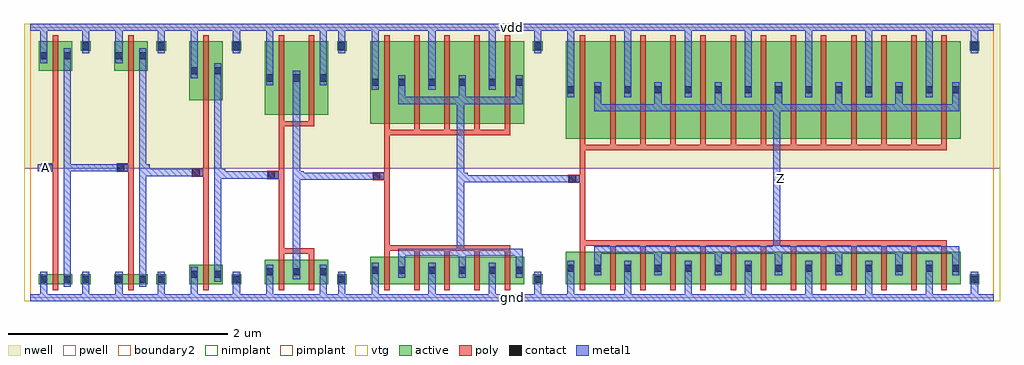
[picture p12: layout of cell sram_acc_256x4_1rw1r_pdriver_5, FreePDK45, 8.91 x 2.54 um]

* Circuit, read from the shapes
.subckt sram_acc_256x4_1rw1r_pdriver_5 A Z gnd vdd
M1 sram_acc_256x4_1rw1r_pinv_1_1/A A gnd gnd nfet w=0.09u l=0.05u
M2 sram_acc_256x4_1rw1r_pinv_16_2/A sram_acc_256x4_1rw1r_pinv_1_1/A gnd gnd nfet w=0.09u l=0.05u
M3 sram_acc_256x4_1rw1r_pinv_17_3/A sram_acc_256x4_1rw1r_pinv_16_2/A gnd gnd nfet w=0.18u l=0.05u
M4 sram_acc_256x4_1rw1r_pinv_18_4/A sram_acc_256x4_1rw1r_pinv_17_3/A gnd gnd nfet w=0.225u l=0.05u m=2
M5 sram_acc_256x4_1rw1r_pinv_19_5/A sram_acc_256x4_1rw1r_pinv_18_4/A gnd gnd nfet w=0.2525u l=0.05u m=5
M6 Z sram_acc_256x4_1rw1r_pinv_19_5/A gnd gnd nfet w=0.2975u l=0.05u m=13
M7 sram_acc_256x4_1rw1r_pinv_1_1/A A vdd vdd pfet w=0.27u l=0.05u
M8 sram_acc_256x4_1rw1r_pinv_16_2/A sram_acc_256x4_1rw1r_pinv_1_1/A vdd vdd pfet w=0.27u l=0.05u
M9 sram_acc_256x4_1rw1r_pinv_17_3/A sram_acc_256x4_1rw1r_pinv_16_2/A vdd vdd pfet w=0.54u l=0.05u
M10 sram_acc_256x4_1rw1r_pinv_18_4/A sram_acc_256x4_1rw1r_pinv_17_3/A vdd vdd pfet w=0.675u l=0.05u m=2
M11 sram_acc_256x4_1rw1r_pinv_19_5/A sram_acc_256x4_1rw1r_pinv_18_4/A vdd vdd pfet w=0.755u l=0.05u m=5
M12 Z sram_acc_256x4_1rw1r_pinv_19_5/A vdd vdd pfet w=0.8925u l=0.05u m=13
.ends

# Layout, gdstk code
import gdstk
lib = gdstk.Library(unit=1e-6, precision=5e-10)
def R(c, l, rs):  # rectangles x0, y0, x1, y1
    for r in rs: c.add(gdstk.rectangle(r[:2], r[2:], *l))
def A(c, l, x, y, w, h, nx, ny, dx, dy):  # array of equal rectangles
    R(c, l, [(x+i*dx, y+j*dy, x+i*dx+w, y+j*dy+h) for i in range(nx) for j in range(ny)])
active = (1, 0)
pwell = (2, 0)
nwell = (3, 0)
nimplant = (4, 0)
pimplant = (5, 0)
vtg = (6, 0)
poly = (9, 0)
contact = (10, 0)
metal1 = (11, 0)
boundary2 = (239, 0)

sram_acc_256x4_1rw1r_con = lib.new_cell('sram_acc_256x4_1rw1r_contact_11')
R(sram_acc_256x4_1rw1r_con, active, [(0,0.0225,0.09,0.1125)])
R(sram_acc_256x4_1rw1r_con, nwell, [(-0.055,-0.0325,0.145,0.1675)])
R(sram_acc_256x4_1rw1r_con, pimplant, [(0,0.0225,0.09,0.1125)])
R(sram_acc_256x4_1rw1r_con, contact, [(0.0125,0.035,0.0775,0.1)])
R(sram_acc_256x4_1rw1r_con, metal1, [(0.0125,0,0.0775,0.135)])
R(sram_acc_256x4_1rw1r_con, boundary2, [(-0.055,-0.0325,0.145,0.1675)])

sram_acc_256x4_1rw1r_pmo = lib.new_cell('sram_acc_256x4_1rw1r_pmos_m1_w0_270_sm1_dm1_da_p')
R(sram_acc_256x4_1rw1r_pmo, active, [(0,0,0.305,0.27)])
R(sram_acc_256x4_1rw1r_pmo, nwell, [(-0.08,-0.08,0.385,0.35)])
R(sram_acc_256x4_1rw1r_pmo, pimplant, [(0,0,0.305,0.27)])
R(sram_acc_256x4_1rw1r_pmo, vtg, [(-0.08,-0.08,0.385,0.35)])
R(sram_acc_256x4_1rw1r_pmo, poly, [(0.1275,-0.055,0.1775,0.325), (0.1275,-0.055,0.1775,0.325)])
R(sram_acc_256x4_1rw1r_pmo, metal1, [(0.0125,0.0675,0.0775,0.2025), (0.2275,0.0675,0.2925,0.2025)])
R(sram_acc_256x4_1rw1r_pmo, boundary2, [(-0.08,-0.08,0.385,0.35)])
sram_acc_256x4_1rw1r_pmo.add(gdstk.Reference(sram_acc_256x4_1rw1r_con, (0,0.0675)))
sram_acc_256x4_1rw1r_pmo.add(gdstk.Reference(sram_acc_256x4_1rw1r_con, (0.215,0.0675)))
sram_acc_256x4_1rw1r_pmo.add(gdstk.Label('G', (0.1525,0.135), layer=9, texttype=0))
sram_acc_256x4_1rw1r_pmo.add(gdstk.Label('S', (0.045,0.135), layer=11, texttype=0))
sram_acc_256x4_1rw1r_pmo.add(gdstk.Label('D', (0.26,0.135), layer=11, texttype=0))

c_sram_acc_256x4_1rw1r_con = lib.new_cell('sram_acc_256x4_1rw1r_contact_10')
R(c_sram_acc_256x4_1rw1r_con, active, [(0,0.0225,0.09,0.1125)])
R(c_sram_acc_256x4_1rw1r_con, pwell, [(-0.055,-0.0325,0.145,0.1675)])
R(c_sram_acc_256x4_1rw1r_con, nimplant, [(0,0.0225,0.09,0.1125)])
R(c_sram_acc_256x4_1rw1r_con, contact, [(0.0125,0.035,0.0775,0.1)])
R(c_sram_acc_256x4_1rw1r_con, metal1, [(0.0125,0,0.0775,0.135)])
R(c_sram_acc_256x4_1rw1r_con, boundary2, [(-0.055,-0.0325,0.145,0.1675)])

sram_acc_256x4_1rw1r_nmo = lib.new_cell('sram_acc_256x4_1rw1r_nmos_m1_w0_090_sm1_dm1_da_p')
R(sram_acc_256x4_1rw1r_nmo, active, [(0,0,0.305,0.09)])
R(sram_acc_256x4_1rw1r_nmo, pwell, [(-0.08,-0.08,0.385,0.17)])
R(sram_acc_256x4_1rw1r_nmo, nimplant, [(0,0,0.305,0.09)])
R(sram_acc_256x4_1rw1r_nmo, vtg, [(-0.08,-0.08,0.385,0.17)])
R(sram_acc_256x4_1rw1r_nmo, poly, [(0.1275,-0.055,0.1775,0.145), (0.1275,-0.055,0.1775,0.145)])
R(sram_acc_256x4_1rw1r_nmo, metal1, [(0.0125,-0.0225,0.0775,0.1125), (0.2275,-0.0225,0.2925,0.1125)])
R(sram_acc_256x4_1rw1r_nmo, boundary2, [(-0.08,-0.08,0.385,0.17)])
sram_acc_256x4_1rw1r_nmo.add(gdstk.Reference(c_sram_acc_256x4_1rw1r_con, (0,-0.0225)))
sram_acc_256x4_1rw1r_nmo.add(gdstk.Reference(c_sram_acc_256x4_1rw1r_con, (0.215,-0.0225)))
sram_acc_256x4_1rw1r_nmo.add(gdstk.Label('G', (0.1525,0.045), layer=9, texttype=0))
sram_acc_256x4_1rw1r_nmo.add(gdstk.Label('S', (0.045,0.045), layer=11, texttype=0))
sram_acc_256x4_1rw1r_nmo.add(gdstk.Label('D', (0.26,0.045), layer=11, texttype=0))

c_sram_acc_256x4_1rw1r_con_ = lib.new_cell('sram_acc_256x4_1rw1r_contact_12')
R(c_sram_acc_256x4_1rw1r_con_, active, [(0,0.0225,0.09,0.1125)])
R(c_sram_acc_256x4_1rw1r_con_, nwell, [(-0.055,-0.0325,0.145,0.1675)])
R(c_sram_acc_256x4_1rw1r_con_, nimplant, [(0,0.0225,0.09,0.1125)])
R(c_sram_acc_256x4_1rw1r_con_, contact, [(0.0125,0.035,0.0775,0.1)])
R(c_sram_acc_256x4_1rw1r_con_, metal1, [(0.0125,0,0.0775,0.135)])
R(c_sram_acc_256x4_1rw1r_con_, boundary2, [(-0.055,-0.0325,0.145,0.1675)])

c_sram_acc_256x4_1rw1r_con__ = lib.new_cell('sram_acc_256x4_1rw1r_contact_13')
R(c_sram_acc_256x4_1rw1r_con__, active, [(0,0.0225,0.09,0.1125)])
R(c_sram_acc_256x4_1rw1r_con__, pwell, [(-0.055,-0.0325,0.145,0.1675)])
R(c_sram_acc_256x4_1rw1r_con__, pimplant, [(0,0.0225,0.09,0.1125)])
R(c_sram_acc_256x4_1rw1r_con__, contact, [(0.0125,0.035,0.0775,0.1)])
R(c_sram_acc_256x4_1rw1r_con__, metal1, [(0.0125,0,0.0775,0.135)])
R(c_sram_acc_256x4_1rw1r_con__, boundary2, [(-0.055,-0.0325,0.145,0.1675)])

c_sram_acc_256x4_1rw1r_con___ = lib.new_cell('sram_acc_256x4_1rw1r_contact_14')
R(c_sram_acc_256x4_1rw1r_con___, poly, [(0.03,0,0.105,0.075)])
R(c_sram_acc_256x4_1rw1r_con___, contact, [(0.035,0.005,0.1,0.07)])
R(c_sram_acc_256x4_1rw1r_con___, metal1, [(0,0.005,0.135,0.07)])
R(c_sram_acc_256x4_1rw1r_con___, boundary2, [(0,0,0.135,0.075)])

sram_acc_256x4_1rw1r_pin = lib.new_cell('sram_acc_256x4_1rw1r_pinv_1')
R(sram_acc_256x4_1rw1r_pin, pwell, [(-0.055,-0.0325,0.7425,1.185)])
R(sram_acc_256x4_1rw1r_pin, nwell, [(-0.055,1.185,0.7425,2.505)])
R(sram_acc_256x4_1rw1r_pin, vtg, [(-0.055,-0.0325,0.7425,1.185), (-0.055,1.185,0.7425,2.505)])
R(sram_acc_256x4_1rw1r_pin, poly, [(0.2075,0.27,0.2575,2.02), (0.14,1.1525,0.2075,1.2275)])
R(sram_acc_256x4_1rw1r_pin, metal1, [(0,-0.0325,0.6875,0.0325), (0.0925,-0.0325,0.1575,0.1025), (0.4775,0,0.5425,0.17), (0.3075,0.1025,0.3725,2.2775), (0.0725,1.1575,0.2075,1.2225), (0.34,1.1575,0.405,1.2225), (0.0925,2.1425,0.1575,2.5025), (0.4775,2.3,0.5425,2.47), (0,2.4375,0.6875,2.5025)])
R(sram_acc_256x4_1rw1r_pin, boundary2, [(0,0,0.6875,2.47), (0,0,0.6875,2.47)])
sram_acc_256x4_1rw1r_pin.add(gdstk.Reference(sram_acc_256x4_1rw1r_pmo, (0.08,2.075)))
sram_acc_256x4_1rw1r_pin.add(gdstk.Reference(sram_acc_256x4_1rw1r_nmo, (0.08,0.125)))
sram_acc_256x4_1rw1r_pin.add(gdstk.Reference(c_sram_acc_256x4_1rw1r_con_, (0.465,2.2325)))
sram_acc_256x4_1rw1r_pin.add(gdstk.Reference(c_sram_acc_256x4_1rw1r_con__, (0.465,0.1025)))
sram_acc_256x4_1rw1r_pin.add(gdstk.Reference(c_sram_acc_256x4_1rw1r_con___, (0.0725,1.1525)))
sram_acc_256x4_1rw1r_pin.add(gdstk.Label('A', (0.14,1.19), layer=11, texttype=0))
sram_acc_256x4_1rw1r_pin.add(gdstk.Label('Z', (0.3725,1.19), layer=11, texttype=0))
sram_acc_256x4_1rw1r_pin.add(gdstk.Label('gnd', (0.344,0), layer=11, texttype=0))
sram_acc_256x4_1rw1r_pin.add(gdstk.Label('vdd', (0.344,2.47), layer=11, texttype=0))

c_sram_acc_256x4_1rw1r_pmo = lib.new_cell('sram_acc_256x4_1rw1r_pmos_m1_w0_540_sm1_dm1_da_p')
R(c_sram_acc_256x4_1rw1r_pmo, active, [(0,0,0.305,0.54)])
R(c_sram_acc_256x4_1rw1r_pmo, nwell, [(-0.08,-0.08,0.385,0.62)])
R(c_sram_acc_256x4_1rw1r_pmo, pimplant, [(0,0,0.305,0.54)])
R(c_sram_acc_256x4_1rw1r_pmo, vtg, [(-0.08,-0.08,0.385,0.62)])
R(c_sram_acc_256x4_1rw1r_pmo, poly, [(0.1275,-0.055,0.1775,0.595), (0.1275,-0.055,0.1775,0.595)])
R(c_sram_acc_256x4_1rw1r_pmo, metal1, [(0.0125,0.2025,0.0775,0.3375), (0.2275,0.2025,0.2925,0.3375)])
R(c_sram_acc_256x4_1rw1r_pmo, boundary2, [(-0.08,-0.08,0.385,0.62)])
c_sram_acc_256x4_1rw1r_pmo.add(gdstk.Reference(sram_acc_256x4_1rw1r_con, (0,0.2025)))
c_sram_acc_256x4_1rw1r_pmo.add(gdstk.Reference(sram_acc_256x4_1rw1r_con, (0.215,0.2025)))
c_sram_acc_256x4_1rw1r_pmo.add(gdstk.Label('G', (0.1525,0.27), layer=9, texttype=0))
c_sram_acc_256x4_1rw1r_pmo.add(gdstk.Label('S', (0.045,0.27), layer=11, texttype=0))
c_sram_acc_256x4_1rw1r_pmo.add(gdstk.Label('D', (0.26,0.27), layer=11, texttype=0))

c_sram_acc_256x4_1rw1r_nmo = lib.new_cell('sram_acc_256x4_1rw1r_nmos_m1_w0_180_sm1_dm1_da_p')
R(c_sram_acc_256x4_1rw1r_nmo, active, [(0,0,0.305,0.18)])
R(c_sram_acc_256x4_1rw1r_nmo, pwell, [(-0.08,-0.08,0.385,0.26)])
R(c_sram_acc_256x4_1rw1r_nmo, nimplant, [(0,0,0.305,0.18)])
R(c_sram_acc_256x4_1rw1r_nmo, vtg, [(-0.08,-0.08,0.385,0.26)])
R(c_sram_acc_256x4_1rw1r_nmo, poly, [(0.1275,-0.055,0.1775,0.235), (0.1275,-0.055,0.1775,0.235)])
R(c_sram_acc_256x4_1rw1r_nmo, metal1, [(0.0125,0.0225,0.0775,0.1575), (0.2275,0.0225,0.2925,0.1575)])
R(c_sram_acc_256x4_1rw1r_nmo, boundary2, [(-0.08,-0.08,0.385,0.26)])
c_sram_acc_256x4_1rw1r_nmo.add(gdstk.Reference(c_sram_acc_256x4_1rw1r_con, (0,0.0225)))
c_sram_acc_256x4_1rw1r_nmo.add(gdstk.Reference(c_sram_acc_256x4_1rw1r_con, (0.215,0.0225)))
c_sram_acc_256x4_1rw1r_nmo.add(gdstk.Label('G', (0.1525,0.09), layer=9, texttype=0))
c_sram_acc_256x4_1rw1r_nmo.add(gdstk.Label('S', (0.045,0.09), layer=11, texttype=0))
c_sram_acc_256x4_1rw1r_nmo.add(gdstk.Label('D', (0.26,0.09), layer=11, texttype=0))

c_sram_acc_256x4_1rw1r_pin = lib.new_cell('sram_acc_256x4_1rw1r_pinv_16')
R(c_sram_acc_256x4_1rw1r_pin, pwell, [(-0.055,-0.0325,0.7425,1.185)])
R(c_sram_acc_256x4_1rw1r_pin, nwell, [(-0.055,1.185,0.7425,2.505)])
R(c_sram_acc_256x4_1rw1r_pin, vtg, [(-0.055,-0.0325,0.7425,1.185), (-0.055,1.185,0.7425,2.505)])
R(c_sram_acc_256x4_1rw1r_pin, poly, [(0.2075,0.36,0.2575,1.75), (0.14,1.1075,0.2075,1.1825)])
R(c_sram_acc_256x4_1rw1r_pin, metal1, [(0,-0.0325,0.6875,0.0325), (0.0925,-0.0325,0.1575,0.1475), (0.4775,0,0.5425,0.17), (0.3075,0.1475,0.3725,2.1425), (0.0725,1.1125,0.2075,1.1775), (0.34,1.1125,0.405,1.1775), (0.0925,2.0075,0.1575,2.5025), (0.4775,2.3,0.5425,2.47), (0,2.4375,0.6875,2.5025)])
R(c_sram_acc_256x4_1rw1r_pin, boundary2, [(0,0,0.6875,2.47), (0,0,0.6875,2.47)])
c_sram_acc_256x4_1rw1r_pin.add(gdstk.Reference(c_sram_acc_256x4_1rw1r_pmo, (0.08,1.805)))
c_sram_acc_256x4_1rw1r_pin.add(gdstk.Reference(c_sram_acc_256x4_1rw1r_nmo, (0.08,0.125)))
c_sram_acc_256x4_1rw1r_pin.add(gdstk.Reference(c_sram_acc_256x4_1rw1r_con_, (0.465,2.2325)))
c_sram_acc_256x4_1rw1r_pin.add(gdstk.Reference(c_sram_acc_256x4_1rw1r_con__, (0.465,0.1025)))
c_sram_acc_256x4_1rw1r_pin.add(gdstk.Reference(c_sram_acc_256x4_1rw1r_con___, (0.0725,1.1075)))
c_sram_acc_256x4_1rw1r_pin.add(gdstk.Label('A', (0.14,1.145), layer=11, texttype=0))
c_sram_acc_256x4_1rw1r_pin.add(gdstk.Label('Z', (0.3725,1.145), layer=11, texttype=0))
c_sram_acc_256x4_1rw1r_pin.add(gdstk.Label('gnd', (0.344,0), layer=11, texttype=0))
c_sram_acc_256x4_1rw1r_pin.add(gdstk.Label('vdd', (0.344,2.47), layer=11, texttype=0))

c_sram_acc_256x4_1rw1r_pmo_ = lib.new_cell('sram_acc_256x4_1rw1r_pmos_m2_w0_675_sm1_dm1_da_p')
R(c_sram_acc_256x4_1rw1r_pmo_, active, [(0,0,0.58,0.675)])
R(c_sram_acc_256x4_1rw1r_pmo_, nwell, [(-0.08,-0.08,0.66,0.755)])
R(c_sram_acc_256x4_1rw1r_pmo_, pimplant, [(0,0,0.58,0.675)])
R(c_sram_acc_256x4_1rw1r_pmo_, vtg, [(-0.08,-0.08,0.66,0.755)])
R(c_sram_acc_256x4_1rw1r_pmo_, poly, [(0.1275,-0.105,0.4525,-0.055), (0.1275,-0.055,0.1775,0.73), (0.4025,-0.055,0.4525,0.73)])
A(c_sram_acc_256x4_1rw1r_pmo_, metal1, 0.0125, 0.27, 0.065, 0.135, 3, 1, 0.245, 0)
R(c_sram_acc_256x4_1rw1r_pmo_, boundary2, [(-0.08,-0.105,0.66,0.755)])
c_sram_acc_256x4_1rw1r_pmo_.add(gdstk.Reference(sram_acc_256x4_1rw1r_con, (0,0.27)))
c_sram_acc_256x4_1rw1r_pmo_.add(gdstk.Reference(sram_acc_256x4_1rw1r_con, (0.245,0.27)))
c_sram_acc_256x4_1rw1r_pmo_.add(gdstk.Reference(sram_acc_256x4_1rw1r_con, (0.49,0.27)))
c_sram_acc_256x4_1rw1r_pmo_.add(gdstk.Label('G', (0.29,-0.08), layer=9, texttype=0))
c_sram_acc_256x4_1rw1r_pmo_.add(gdstk.Label('S', (0.535,0.3375), layer=11, texttype=0))
c_sram_acc_256x4_1rw1r_pmo_.add(gdstk.Label('S', (0.045,0.3375), layer=11, texttype=0))
c_sram_acc_256x4_1rw1r_pmo_.add(gdstk.Label('D', (0.29,0.3375), layer=11, texttype=0))

c_sram_acc_256x4_1rw1r_nmo_ = lib.new_cell('sram_acc_256x4_1rw1r_nmos_m2_w0_225_sm1_dm1_da_p')
R(c_sram_acc_256x4_1rw1r_nmo_, active, [(0,0,0.58,0.225)])
R(c_sram_acc_256x4_1rw1r_nmo_, pwell, [(-0.08,-0.08,0.66,0.305)])
R(c_sram_acc_256x4_1rw1r_nmo_, nimplant, [(0,0,0.58,0.225)])
R(c_sram_acc_256x4_1rw1r_nmo_, vtg, [(-0.08,-0.08,0.66,0.305)])
R(c_sram_acc_256x4_1rw1r_nmo_, poly, [(0.1275,-0.055,0.1775,0.28), (0.4025,-0.055,0.4525,0.28), (0.1275,0.28,0.4525,0.33)])
A(c_sram_acc_256x4_1rw1r_nmo_, metal1, 0.0125, 0.045, 0.065, 0.135, 3, 1, 0.245, 0)
R(c_sram_acc_256x4_1rw1r_nmo_, boundary2, [(-0.08,-0.08,0.66,0.33)])
c_sram_acc_256x4_1rw1r_nmo_.add(gdstk.Reference(c_sram_acc_256x4_1rw1r_con, (0,0.045)))
c_sram_acc_256x4_1rw1r_nmo_.add(gdstk.Reference(c_sram_acc_256x4_1rw1r_con, (0.245,0.045)))
c_sram_acc_256x4_1rw1r_nmo_.add(gdstk.Reference(c_sram_acc_256x4_1rw1r_con, (0.49,0.045)))
c_sram_acc_256x4_1rw1r_nmo_.add(gdstk.Label('G', (0.29,0.305), layer=9, texttype=0))
c_sram_acc_256x4_1rw1r_nmo_.add(gdstk.Label('S', (0.045,0.1125), layer=11, texttype=0))
c_sram_acc_256x4_1rw1r_nmo_.add(gdstk.Label('S', (0.535,0.1125), layer=11, texttype=0))
c_sram_acc_256x4_1rw1r_nmo_.add(gdstk.Label('D', (0.29,0.1125), layer=11, texttype=0))

c_sram_acc_256x4_1rw1r_pin_ = lib.new_cell('sram_acc_256x4_1rw1r_pinv_17')
R(c_sram_acc_256x4_1rw1r_pin_, pwell, [(-0.055,-0.0325,1.0175,1.185)])
R(c_sram_acc_256x4_1rw1r_pin_, nwell, [(-0.055,1.185,1.0175,2.505)])
R(c_sram_acc_256x4_1rw1r_pin_, vtg, [(-0.055,-0.0325,1.0175,1.185), (-0.055,1.185,1.0175,2.505)])
R(c_sram_acc_256x4_1rw1r_pin_, poly, [(0.2075,0.455,0.2575,1.565), (0.14,1.085,0.2075,1.16)])
R(c_sram_acc_256x4_1rw1r_pin_, metal1, [(0,-0.0325,0.9625,0.0325), (0.0925,-0.0325,0.1575,0.17), (0.5825,-0.0325,0.6475,0.17), (0.7525,0,0.8175,0.17), (0.3375,0.17,0.4025,2.075), (0.0725,1.09,0.2075,1.155), (0.37,1.09,0.435,1.155), (0.0925,1.94,0.1575,2.5025), (0.5825,1.94,0.6475,2.5025), (0.7525,2.3,0.8175,2.47), (0,2.4375,0.9625,2.5025)])
R(c_sram_acc_256x4_1rw1r_pin_, boundary2, [(0,0,0.9625,2.47), (0,0,0.9625,2.47)])
c_sram_acc_256x4_1rw1r_pin_.add(gdstk.Reference(c_sram_acc_256x4_1rw1r_pmo_, (0.08,1.67)))
c_sram_acc_256x4_1rw1r_pin_.add(gdstk.Reference(c_sram_acc_256x4_1rw1r_nmo_, (0.08,0.125)))
c_sram_acc_256x4_1rw1r_pin_.add(gdstk.Reference(c_sram_acc_256x4_1rw1r_con_, (0.74,2.2325)))
c_sram_acc_256x4_1rw1r_pin_.add(gdstk.Reference(c_sram_acc_256x4_1rw1r_con__, (0.74,0.1025)))
c_sram_acc_256x4_1rw1r_pin_.add(gdstk.Reference(c_sram_acc_256x4_1rw1r_con___, (0.0725,1.085)))
c_sram_acc_256x4_1rw1r_pin_.add(gdstk.Label('A', (0.14,1.1225), layer=11, texttype=0))
c_sram_acc_256x4_1rw1r_pin_.add(gdstk.Label('Z', (0.4025,1.1225), layer=11, texttype=0))
c_sram_acc_256x4_1rw1r_pin_.add(gdstk.Label('gnd', (0.481,0), layer=11, texttype=0))
c_sram_acc_256x4_1rw1r_pin_.add(gdstk.Label('vdd', (0.481,2.47), layer=11, texttype=0))

c_sram_acc_256x4_1rw1r_pmo__ = lib.new_cell('sram_acc_256x4_1rw1r_pmos_m5_w0_755_sm1_dm1_da_p')
R(c_sram_acc_256x4_1rw1r_pmo__, active, [(0,0,1.405,0.755)])
R(c_sram_acc_256x4_1rw1r_pmo__, nwell, [(-0.08,-0.08,1.485,0.835)])
R(c_sram_acc_256x4_1rw1r_pmo__, pimplant, [(0,0,1.405,0.755)])
R(c_sram_acc_256x4_1rw1r_pmo__, vtg, [(-0.08,-0.08,1.485,0.835)])
A(c_sram_acc_256x4_1rw1r_pmo__, poly, 0.1275, -0.055, 0.05, 0.865, 5, 1, 0.275, 0)
R(c_sram_acc_256x4_1rw1r_pmo__, poly, [(0.1275,-0.105,1.2775,-0.055)])
R(c_sram_acc_256x4_1rw1r_pmo__, metal1, [(0.2575,0.18,1.3925,0.245), (0.2575,0.2125,0.3225,0.3775), (0.8075,0.2125,0.8725,0.3775), (1.3275,0.2125,1.3925,0.3775), (0.0125,0.31,0.0775,0.445), (0.5325,0.31,0.5975,0.445), (1.0825,0.31,1.1475,0.445)])
R(c_sram_acc_256x4_1rw1r_pmo__, boundary2, [(-0.08,-0.105,1.485,0.835)])
c_sram_acc_256x4_1rw1r_pmo__.add(gdstk.Reference(sram_acc_256x4_1rw1r_con, (0,0.31)))
c_sram_acc_256x4_1rw1r_pmo__.add(gdstk.Reference(sram_acc_256x4_1rw1r_con, (0.245,0.31)))
c_sram_acc_256x4_1rw1r_pmo__.add(gdstk.Reference(sram_acc_256x4_1rw1r_con, (0.52,0.31)))
c_sram_acc_256x4_1rw1r_pmo__.add(gdstk.Reference(sram_acc_256x4_1rw1r_con, (0.795,0.31)))
c_sram_acc_256x4_1rw1r_pmo__.add(gdstk.Reference(sram_acc_256x4_1rw1r_con, (1.07,0.31)))
c_sram_acc_256x4_1rw1r_pmo__.add(gdstk.Reference(sram_acc_256x4_1rw1r_con, (1.315,0.31)))
c_sram_acc_256x4_1rw1r_pmo__.add(gdstk.Label('G', (0.7025,-0.08), layer=9, texttype=0))
c_sram_acc_256x4_1rw1r_pmo__.add(gdstk.Label('S', (1.115,0.3775), layer=11, texttype=0))
c_sram_acc_256x4_1rw1r_pmo__.add(gdstk.Label('S', (0.045,0.3775), layer=11, texttype=0))
c_sram_acc_256x4_1rw1r_pmo__.add(gdstk.Label('S', (0.565,0.3775), layer=11, texttype=0))
c_sram_acc_256x4_1rw1r_pmo__.add(gdstk.Label('D', (0.825,0.2125), layer=11, texttype=0))

c_sram_acc_256x4_1rw1r_nmo__ = lib.new_cell('sram_acc_256x4_1rw1r_nmos_m5_w0_253_sm1_dm1_da_p')
R(c_sram_acc_256x4_1rw1r_nmo__, active, [(0,0,1.405,0.2525)])
R(c_sram_acc_256x4_1rw1r_nmo__, pwell, [(-0.08,-0.08,1.485,0.3325)])
R(c_sram_acc_256x4_1rw1r_nmo__, nimplant, [(0,0,1.405,0.2525)])
R(c_sram_acc_256x4_1rw1r_nmo__, vtg, [(-0.08,-0.08,1.485,0.3325)])
A(c_sram_acc_256x4_1rw1r_nmo__, poly, 0.1275, -0.055, 0.05, 0.3625, 5, 1, 0.275, 0)
R(c_sram_acc_256x4_1rw1r_nmo__, poly, [(0.1275,0.3075,1.2775,0.3575)])
R(c_sram_acc_256x4_1rw1r_nmo__, metal1, [(0.0125,0.06,0.0775,0.195), (0.5325,0.06,0.5975,0.195), (1.0825,0.06,1.1475,0.195), (0.2575,0.125,0.3225,0.29), (0.8075,0.125,0.8725,0.29), (1.3275,0.125,1.3925,0.29), (0.2575,0.26,1.3925,0.325)])
R(c_sram_acc_256x4_1rw1r_nmo__, boundary2, [(-0.08,-0.08,1.485,0.3575)])
c_sram_acc_256x4_1rw1r_nmo__.add(gdstk.Reference(c_sram_acc_256x4_1rw1r_con, (0,0.06)))
c_sram_acc_256x4_1rw1r_nmo__.add(gdstk.Reference(c_sram_acc_256x4_1rw1r_con, (0.245,0.06)))
c_sram_acc_256x4_1rw1r_nmo__.add(gdstk.Reference(c_sram_acc_256x4_1rw1r_con, (0.52,0.06)))
c_sram_acc_256x4_1rw1r_nmo__.add(gdstk.Reference(c_sram_acc_256x4_1rw1r_con, (0.795,0.06)))
c_sram_acc_256x4_1rw1r_nmo__.add(gdstk.Reference(c_sram_acc_256x4_1rw1r_con, (1.07,0.06)))
c_sram_acc_256x4_1rw1r_nmo__.add(gdstk.Reference(c_sram_acc_256x4_1rw1r_con, (1.315,0.06)))
c_sram_acc_256x4_1rw1r_nmo__.add(gdstk.Label('G', (0.7025,0.3325), layer=9, texttype=0))
c_sram_acc_256x4_1rw1r_nmo__.add(gdstk.Label('S', (1.115,0.1275), layer=11, texttype=0))
c_sram_acc_256x4_1rw1r_nmo__.add(gdstk.Label('S', (0.565,0.1275), layer=11, texttype=0))
c_sram_acc_256x4_1rw1r_nmo__.add(gdstk.Label('S', (0.045,0.1275), layer=11, texttype=0))
c_sram_acc_256x4_1rw1r_nmo__.add(gdstk.Label('D', (0.825,0.2925), layer=11, texttype=0))

c_sram_acc_256x4_1rw1r_pin__ = lib.new_cell('sram_acc_256x4_1rw1r_pinv_18')
R(c_sram_acc_256x4_1rw1r_pin__, pwell, [(-0.055,-0.0325,1.8425,1.185)])
R(c_sram_acc_256x4_1rw1r_pin__, nwell, [(-0.055,1.185,1.8425,2.505)])
R(c_sram_acc_256x4_1rw1r_pin__, vtg, [(-0.055,-0.0325,1.8425,1.185), (-0.055,1.185,1.8425,2.505)])
R(c_sram_acc_256x4_1rw1r_pin__, poly, [(0.2075,0.4825,0.2575,1.485), (0.14,1.0725,0.2075,1.1475)])
R(c_sram_acc_256x4_1rw1r_pin__, metal1, [(0,-0.0325,1.7875,0.0325), (0.0925,-0.0325,0.1575,0.185), (0.6125,-0.0325,0.6775,0.185), (1.1625,-0.0325,1.2275,0.185), (1.5775,0,1.6425,0.17), (0.8725,0.385,0.9375,1.835), (0.0725,1.0775,0.2075,1.1425), (0.905,1.0775,0.97,1.1425), (0.0925,1.9,0.1575,2.5025), (0.6125,1.9,0.6775,2.5025), (1.1625,1.9,1.2275,2.5025), (1.5775,2.3,1.6425,2.47), (0,2.4375,1.7875,2.5025)])
R(c_sram_acc_256x4_1rw1r_pin__, boundary2, [(0,0,1.7875,2.47), (0,0,1.7875,2.47)])
c_sram_acc_256x4_1rw1r_pin__.add(gdstk.Reference(c_sram_acc_256x4_1rw1r_pmo__, (0.08,1.59)))
c_sram_acc_256x4_1rw1r_pin__.add(gdstk.Reference(c_sram_acc_256x4_1rw1r_nmo__, (0.08,0.125)))
c_sram_acc_256x4_1rw1r_pin__.add(gdstk.Reference(c_sram_acc_256x4_1rw1r_con_, (1.565,2.2325)))
c_sram_acc_256x4_1rw1r_pin__.add(gdstk.Reference(c_sram_acc_256x4_1rw1r_con__, (1.565,0.1025)))
c_sram_acc_256x4_1rw1r_pin__.add(gdstk.Reference(c_sram_acc_256x4_1rw1r_con___, (0.0725,1.0725)))
c_sram_acc_256x4_1rw1r_pin__.add(gdstk.Label('A', (0.14,1.11), layer=11, texttype=0))
c_sram_acc_256x4_1rw1r_pin__.add(gdstk.Label('Z', (0.9375,1.11), layer=11, texttype=0))
c_sram_acc_256x4_1rw1r_pin__.add(gdstk.Label('gnd', (0.894,0), layer=11, texttype=0))
c_sram_acc_256x4_1rw1r_pin__.add(gdstk.Label('vdd', (0.894,2.47), layer=11, texttype=0))

c_sram_acc_256x4_1rw1r_pmo___ = lib.new_cell('sram_acc_256x4_1rw1r_pmos_m13_w0_893_sm1_dm1_da_p')
R(c_sram_acc_256x4_1rw1r_pmo___, active, [(0,0,3.605,0.8925)])
R(c_sram_acc_256x4_1rw1r_pmo___, nwell, [(-0.08,-0.08,3.685,0.9725)])
R(c_sram_acc_256x4_1rw1r_pmo___, pimplant, [(0,0,3.605,0.8925)])
R(c_sram_acc_256x4_1rw1r_pmo___, vtg, [(-0.08,-0.08,3.685,0.9725)])
A(c_sram_acc_256x4_1rw1r_pmo___, poly, 0.1275, -0.055, 0.05, 1.0025, 13, 1, 0.275, 0)
R(c_sram_acc_256x4_1rw1r_pmo___, poly, [(0.1275,-0.105,3.4775,-0.055)])
A(c_sram_acc_256x4_1rw1r_pmo___, metal1, 0.2575, 0.28, 0.065, 0.165, 6, 1, 0.55, 0)
A(c_sram_acc_256x4_1rw1r_pmo___, metal1, 0.5325, 0.38, 0.065, 0.135, 6, 1, 0.55, 0)
R(c_sram_acc_256x4_1rw1r_pmo___, metal1, [(0.2575,0.25,3.5925,0.315), (3.5275,0.28,3.5925,0.445), (0.0125,0.38,0.0775,0.515)])
R(c_sram_acc_256x4_1rw1r_pmo___, boundary2, [(-0.08,-0.105,3.685,0.9725)])
c_sram_acc_256x4_1rw1r_pmo___.add(gdstk.Reference(sram_acc_256x4_1rw1r_con, (0,0.38)))
c_sram_acc_256x4_1rw1r_pmo___.add(gdstk.Reference(sram_acc_256x4_1rw1r_con, (0.245,0.38)))
c_sram_acc_256x4_1rw1r_pmo___.add(gdstk.Reference(sram_acc_256x4_1rw1r_con, (0.52,0.38)))
c_sram_acc_256x4_1rw1r_pmo___.add(gdstk.Reference(sram_acc_256x4_1rw1r_con, (0.795,0.38)))
c_sram_acc_256x4_1rw1r_pmo___.add(gdstk.Reference(sram_acc_256x4_1rw1r_con, (1.07,0.38)))
c_sram_acc_256x4_1rw1r_pmo___.add(gdstk.Reference(sram_acc_256x4_1rw1r_con, (1.345,0.38)))
c_sram_acc_256x4_1rw1r_pmo___.add(gdstk.Reference(sram_acc_256x4_1rw1r_con, (1.62,0.38)))
c_sram_acc_256x4_1rw1r_pmo___.add(gdstk.Reference(sram_acc_256x4_1rw1r_con, (1.895,0.38)))
c_sram_acc_256x4_1rw1r_pmo___.add(gdstk.Reference(sram_acc_256x4_1rw1r_con, (2.17,0.38)))
c_sram_acc_256x4_1rw1r_pmo___.add(gdstk.Reference(sram_acc_256x4_1rw1r_con, (2.445,0.38)))
c_sram_acc_256x4_1rw1r_pmo___.add(gdstk.Reference(sram_acc_256x4_1rw1r_con, (2.72,0.38)))
c_sram_acc_256x4_1rw1r_pmo___.add(gdstk.Reference(sram_acc_256x4_1rw1r_con, (2.995,0.38)))
c_sram_acc_256x4_1rw1r_pmo___.add(gdstk.Reference(sram_acc_256x4_1rw1r_con, (3.27,0.38)))
c_sram_acc_256x4_1rw1r_pmo___.add(gdstk.Reference(sram_acc_256x4_1rw1r_con, (3.515,0.38)))
c_sram_acc_256x4_1rw1r_pmo___.add(gdstk.Label('G', (1.8025,-0.08), layer=9, texttype=0))
c_sram_acc_256x4_1rw1r_pmo___.add(gdstk.Label('S', (1.115,0.4475), layer=11, texttype=0))
c_sram_acc_256x4_1rw1r_pmo___.add(gdstk.Label('S', (0.565,0.4475), layer=11, texttype=0))
c_sram_acc_256x4_1rw1r_pmo___.add(gdstk.Label('S', (0.045,0.4475), layer=11, texttype=0))
c_sram_acc_256x4_1rw1r_pmo___.add(gdstk.Label('S', (3.315,0.4475), layer=11, texttype=0))
c_sram_acc_256x4_1rw1r_pmo___.add(gdstk.Label('S', (2.215,0.4475), layer=11, texttype=0))
c_sram_acc_256x4_1rw1r_pmo___.add(gdstk.Label('S', (1.665,0.4475), layer=11, texttype=0))
c_sram_acc_256x4_1rw1r_pmo___.add(gdstk.Label('S', (2.765,0.4475), layer=11, texttype=0))
c_sram_acc_256x4_1rw1r_pmo___.add(gdstk.Label('D', (1.925,0.2825), layer=11, texttype=0))

c_sram_acc_256x4_1rw1r_nmo___ = lib.new_cell('sram_acc_256x4_1rw1r_nmos_m13_w0_297_sm1_dm1_da_p')
R(c_sram_acc_256x4_1rw1r_nmo___, active, [(0,0,3.605,0.2975)])
R(c_sram_acc_256x4_1rw1r_nmo___, pwell, [(-0.08,-0.08,3.685,0.3775)])
R(c_sram_acc_256x4_1rw1r_nmo___, nimplant, [(0,0,3.605,0.2975)])
R(c_sram_acc_256x4_1rw1r_nmo___, vtg, [(-0.08,-0.08,3.685,0.3775)])
A(c_sram_acc_256x4_1rw1r_nmo___, poly, 0.1275, -0.055, 0.05, 0.4075, 13, 1, 0.275, 0)
R(c_sram_acc_256x4_1rw1r_nmo___, poly, [(0.1275,0.3525,3.4775,0.4025)])
A(c_sram_acc_256x4_1rw1r_nmo___, metal1, 0.5325, 0.08, 0.065, 0.135, 6, 1, 0.55, 0)
A(c_sram_acc_256x4_1rw1r_nmo___, metal1, 0.2575, 0.15, 0.065, 0.165, 6, 1, 0.55, 0)
R(c_sram_acc_256x4_1rw1r_nmo___, metal1, [(0.0125,0.08,0.0775,0.215), (3.5275,0.15,3.5925,0.315), (0.2575,0.28,3.5925,0.345)])
R(c_sram_acc_256x4_1rw1r_nmo___, boundary2, [(-0.08,-0.08,3.685,0.4025)])
c_sram_acc_256x4_1rw1r_nmo___.add(gdstk.Reference(c_sram_acc_256x4_1rw1r_con, (0,0.08)))
c_sram_acc_256x4_1rw1r_nmo___.add(gdstk.Reference(c_sram_acc_256x4_1rw1r_con, (0.245,0.08)))
c_sram_acc_256x4_1rw1r_nmo___.add(gdstk.Reference(c_sram_acc_256x4_1rw1r_con, (0.52,0.08)))
c_sram_acc_256x4_1rw1r_nmo___.add(gdstk.Reference(c_sram_acc_256x4_1rw1r_con, (0.795,0.08)))
c_sram_acc_256x4_1rw1r_nmo___.add(gdstk.Reference(c_sram_acc_256x4_1rw1r_con, (1.07,0.08)))
c_sram_acc_256x4_1rw1r_nmo___.add(gdstk.Reference(c_sram_acc_256x4_1rw1r_con, (1.345,0.08)))
c_sram_acc_256x4_1rw1r_nmo___.add(gdstk.Reference(c_sram_acc_256x4_1rw1r_con, (1.62,0.08)))
c_sram_acc_256x4_1rw1r_nmo___.add(gdstk.Reference(c_sram_acc_256x4_1rw1r_con, (1.895,0.08)))
c_sram_acc_256x4_1rw1r_nmo___.add(gdstk.Reference(c_sram_acc_256x4_1rw1r_con, (2.17,0.08)))
c_sram_acc_256x4_1rw1r_nmo___.add(gdstk.Reference(c_sram_acc_256x4_1rw1r_con, (2.445,0.08)))
c_sram_acc_256x4_1rw1r_nmo___.add(gdstk.Reference(c_sram_acc_256x4_1rw1r_con, (2.72,0.08)))
c_sram_acc_256x4_1rw1r_nmo___.add(gdstk.Reference(c_sram_acc_256x4_1rw1r_con, (2.995,0.08)))
c_sram_acc_256x4_1rw1r_nmo___.add(gdstk.Reference(c_sram_acc_256x4_1rw1r_con, (3.27,0.08)))
c_sram_acc_256x4_1rw1r_nmo___.add(gdstk.Reference(c_sram_acc_256x4_1rw1r_con, (3.515,0.08)))
c_sram_acc_256x4_1rw1r_nmo___.add(gdstk.Label('G', (1.8025,0.3775), layer=9, texttype=0))
c_sram_acc_256x4_1rw1r_nmo___.add(gdstk.Label('S', (1.115,0.1475), layer=11, texttype=0))
c_sram_acc_256x4_1rw1r_nmo___.add(gdstk.Label('S', (2.765,0.1475), layer=11, texttype=0))
c_sram_acc_256x4_1rw1r_nmo___.add(gdstk.Label('S', (0.045,0.1475), layer=11, texttype=0))
c_sram_acc_256x4_1rw1r_nmo___.add(gdstk.Label('S', (2.215,0.1475), layer=11, texttype=0))
c_sram_acc_256x4_1rw1r_nmo___.add(gdstk.Label('S', (3.315,0.1475), layer=11, texttype=0))
c_sram_acc_256x4_1rw1r_nmo___.add(gdstk.Label('S', (0.565,0.1475), layer=11, texttype=0))
c_sram_acc_256x4_1rw1r_nmo___.add(gdstk.Label('S', (1.665,0.1475), layer=11, texttype=0))
c_sram_acc_256x4_1rw1r_nmo___.add(gdstk.Label('D', (1.925,0.3125), layer=11, texttype=0))

c_sram_acc_256x4_1rw1r_pin___ = lib.new_cell('sram_acc_256x4_1rw1r_pinv_19')
R(c_sram_acc_256x4_1rw1r_pin___, pwell, [(-0.055,-0.0325,4.0425,1.185)])
R(c_sram_acc_256x4_1rw1r_pin___, nwell, [(-0.055,1.185,4.0425,2.505)])
R(c_sram_acc_256x4_1rw1r_pin___, vtg, [(-0.055,-0.0325,4.0425,1.185), (-0.055,1.185,4.0425,2.505)])
R(c_sram_acc_256x4_1rw1r_pin___, poly, [(0.2075,0.5275,0.2575,1.3475), (0.14,1.05,0.2075,1.125)])
A(c_sram_acc_256x4_1rw1r_pin___, metal1, 0.6125, -0.0325, 0.065, 0.2375, 6, 1, 0.55, 0)
A(c_sram_acc_256x4_1rw1r_pin___, metal1, 0.6125, 1.8325, 0.065, 0.67, 6, 1, 0.55, 0)
R(c_sram_acc_256x4_1rw1r_pin___, metal1, [(0,-0.0325,3.9875,0.0325), (0.0925,-0.0325,0.1575,0.205), (3.7775,0,3.8425,0.17), (1.9725,0.405,2.0375,1.7675), (0.0725,1.055,0.2075,1.12), (2.005,1.055,2.07,1.12), (0.0925,1.8325,0.1575,2.5025), (3.7775,2.3,3.8425,2.47), (0,2.4375,3.9875,2.5025)])
R(c_sram_acc_256x4_1rw1r_pin___, boundary2, [(0,0,3.9875,2.47), (0,0,3.9875,2.47)])
c_sram_acc_256x4_1rw1r_pin___.add(gdstk.Reference(c_sram_acc_256x4_1rw1r_pmo___, (0.08,1.4525)))
c_sram_acc_256x4_1rw1r_pin___.add(gdstk.Reference(c_sram_acc_256x4_1rw1r_nmo___, (0.08,0.125)))
c_sram_acc_256x4_1rw1r_pin___.add(gdstk.Reference(c_sram_acc_256x4_1rw1r_con_, (3.765,2.2325)))
c_sram_acc_256x4_1rw1r_pin___.add(gdstk.Reference(c_sram_acc_256x4_1rw1r_con__, (3.765,0.1025)))
c_sram_acc_256x4_1rw1r_pin___.add(gdstk.Reference(c_sram_acc_256x4_1rw1r_con___, (0.0725,1.05)))
c_sram_acc_256x4_1rw1r_pin___.add(gdstk.Label('A', (0.14,1.0875), layer=11, texttype=0))
c_sram_acc_256x4_1rw1r_pin___.add(gdstk.Label('Z', (2.0375,1.0875), layer=11, texttype=0))
c_sram_acc_256x4_1rw1r_pin___.add(gdstk.Label('gnd', (1.994,0), layer=11, texttype=0))
c_sram_acc_256x4_1rw1r_pin___.add(gdstk.Label('vdd', (1.994,2.47), layer=11, texttype=0))

sram_acc_256x4_1rw1r_pdr = lib.new_cell('sram_acc_256x4_1rw1r_pdriver_5')
R(sram_acc_256x4_1rw1r_pdr, pwell, [(-0.055,-0.0325,8.855,1.185)])
R(sram_acc_256x4_1rw1r_pdr, nwell, [(-0.055,1.185,8.855,2.505)])
R(sram_acc_256x4_1rw1r_pdr, vtg, [(-0.055,-0.0325,8.855,1.185), (-0.055,1.185,8.855,2.505)])
R(sram_acc_256x4_1rw1r_pdr, metal1, [(0,-0.0325,8.8,0.0325), (3.93,1.055,3.995,1.12), (3.9625,1.055,4.9525,1.12), (6.8175,1.055,6.8825,1.12), (2.4325,1.0775,2.4975,1.1425), (2.465,1.0775,3.165,1.1425), (3.93,1.0875,3.995,1.11), (1.715,1.09,1.78,1.155), (1.7475,1.09,2.2025,1.155), (2.4325,1.11,2.4975,1.1225), (1.0275,1.1125,1.0925,1.1775), (1.06,1.1125,1.515,1.1775), (1.715,1.1225,1.78,1.145), (1.0275,1.145,1.0925,1.19), (0.0725,1.1575,0.2075,1.2225), (0.3725,1.1575,0.8275,1.2225), (0,2.4375,8.8,2.5025)])
R(sram_acc_256x4_1rw1r_pdr, boundary2, [(0,0,8.8,2.47), (0,0,8.8,2.47)])
sram_acc_256x4_1rw1r_pdr.add(gdstk.Reference(sram_acc_256x4_1rw1r_pin, (0,0)))
sram_acc_256x4_1rw1r_pdr.add(gdstk.Reference(sram_acc_256x4_1rw1r_pin, (0.6875,0)))
sram_acc_256x4_1rw1r_pdr.add(gdstk.Reference(c_sram_acc_256x4_1rw1r_pin, (1.375,0)))
sram_acc_256x4_1rw1r_pdr.add(gdstk.Reference(c_sram_acc_256x4_1rw1r_pin_, (2.0625,0)))
sram_acc_256x4_1rw1r_pdr.add(gdstk.Reference(c_sram_acc_256x4_1rw1r_pin__, (3.025,0)))
sram_acc_256x4_1rw1r_pdr.add(gdstk.Reference(c_sram_acc_256x4_1rw1r_pin___, (4.8125,0)))
sram_acc_256x4_1rw1r_pdr.add(gdstk.Label('Z', (6.85,1.0875), layer=11, texttype=0))
sram_acc_256x4_1rw1r_pdr.add(gdstk.Label('A', (0.14,1.19), layer=11, texttype=0))
sram_acc_256x4_1rw1r_pdr.add(gdstk.Label('gnd', (4.4,0), layer=11, texttype=0))
sram_acc_256x4_1rw1r_pdr.add(gdstk.Label('vdd', (4.4,2.47), layer=11, texttype=0))

lib.write_gds('sram_acc_256x4_1rw1r_pdriver_5.gds')
